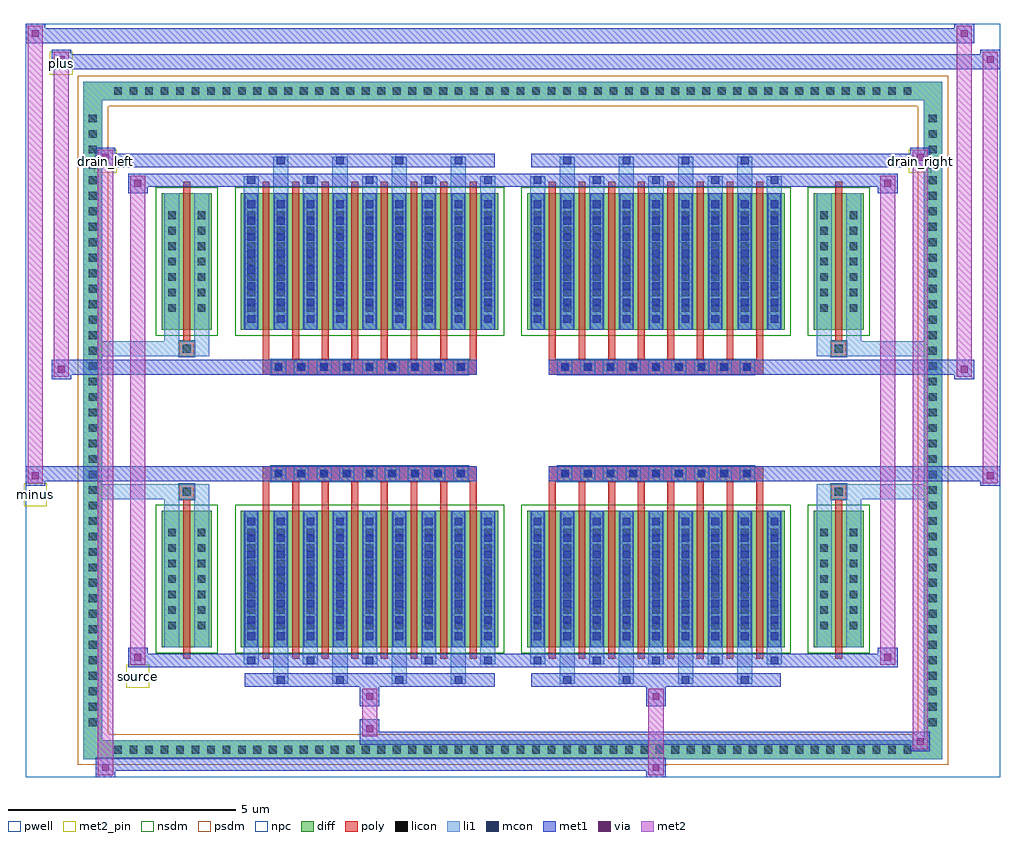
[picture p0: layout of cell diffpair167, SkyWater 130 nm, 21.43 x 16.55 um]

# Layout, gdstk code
import gdstk
lib = gdstk.Library(unit=1e-6, precision=5e-09)
def R(c, l, rs):  # rectangles x0, y0, x1, y1
    for r in rs: c.add(gdstk.rectangle(r[:2], r[2:], *l))
def A(c, l, x, y, w, h, nx, ny, dx, dy):  # array of equal rectangles
    R(c, l, [(x+i*dx, y+j*dy, x+i*dx+w, y+j*dy+h) for i in range(nx) for j in range(ny)])
def P(c, l, *ps):  # polygons
    for p in ps: c.add(gdstk.Polygon(p, *l))
pwell = (64, 44)
diff = (65, 20)
poly = (66, 20)
licon = (66, 44)
li1 = (67, 20)
mcon = (67, 44)
met1 = (68, 20)
via = (68, 44)
met2_pin = (69, 16)
met2 = (69, 20)
nsdm = (93, 44)
psdm = (94, 20)
npc = (95, 20)

diffpair167 = lib.new_cell('diffpair167')
R(diffpair167, pwell, [(-10.7,-7.84,10.7,8.71), (-8.02,-6.03,-0.01,-0.805), (0.01,-6.03,8.02,-0.805), (-8.02,0.805,-0.01,6.03), (0.01,0.805,8.02,6.03)])
A(diffpair167, diff, -8.875, -7.44, 0.41, 0.41, 52, 2, 0.34, 14.47)
A(diffpair167, diff, -9.43, -6.835, 0.41, 0.41, 1, 40, 0, 0.34)
A(diffpair167, diff, 9.02, -6.835, 0.41, 0.41, 1, 40, 0, 0.34)
R(diffpair167, diff, [(-8.875,-7.44,8.875,-7.03), (-9.43,-6.835,-9.02,6.835), (9.02,-6.835,9.43,6.835), (-7.71,-4.985,-6.61,-1.985), (-5.97,-4.985,-0.32,-1.985), (0.32,-4.985,5.97,-1.985), (6.61,-4.985,7.71,-1.985), (-7.71,1.985,-6.61,4.985), (-5.97,1.985,-0.32,4.985), (0.32,1.985,5.97,4.985), (6.61,1.985,7.71,4.985), (-8.875,7.03,8.875,7.44)])
P(diffpair167, diff, [(9.43,7.44),(-9.43,7.44),(-9.43,-7.03),(-9.02,-7.03),(-9.02,7.03),(9.02,7.03),(9.02,-7.03),(-9.02,-7.03),(-9.43,-7.03),(-9.43,-7.44),(9.43,-7.44)])
A(diffpair167, poly, -5.495, -5.235, 0.15, 3.5, 8, 2, 0.65, 6.97)
A(diffpair167, poly, 0.795, -5.235, 0.15, 3.5, 8, 2, 0.65, 6.97)
A(diffpair167, poly, -5.495, -1.735, 0.15, 0.4, 8, 2, 0.65, 3.07)
A(diffpair167, poly, 0.795, -1.735, 0.15, 0.4, 8, 2, 0.65, 3.07)
A(diffpair167, poly, -5.31, -1.335, 0.33, 0.33, 9, 2, 0.5, 2.34)
A(diffpair167, poly, 0.98, -1.335, 0.33, 0.33, 9, 2, 0.5, 2.34)
R(diffpair167, poly, [(-7.235,-5.235,-7.085,-1.735), (7.085,-5.235,7.235,-1.735), (-7.325,-1.735,-6.995,-1.405), (-7.325,-1.735,-6.995,-1.405), (6.995,-1.735,7.325,-1.405), (6.995,-1.735,7.325,-1.405), (-5.495,-1.335,-0.795,-1.005), (0.795,-1.335,5.495,-1.005), (-5.495,1.005,-0.795,1.335), (0.795,1.005,5.495,1.335), (-7.325,1.405,-6.995,1.735), (-7.325,1.405,-6.995,1.735), (6.995,1.405,7.325,1.735), (6.995,1.405,7.325,1.735), (-7.235,1.735,-7.085,5.235), (7.085,1.735,7.235,5.235)])
A(diffpair167, licon, -8.755, -7.32, 0.17, 0.17, 52, 2, 0.34, 14.47)
A(diffpair167, licon, -9.31, -6.715, 0.17, 0.17, 1, 40, 0, 0.34)
A(diffpair167, licon, 9.14, -6.715, 0.17, 0.17, 1, 40, 0, 0.34)
A(diffpair167, licon, -7.57, -4.59, 0.17, 0.17, 1, 7, 0, 0.34)
A(diffpair167, licon, -6.92, -4.59, 0.17, 0.17, 1, 7, 0, 0.34)
A(diffpair167, licon, -5.83, -4.59, 0.17, 0.17, 9, 7, 0.65, 0.34)
A(diffpair167, licon, 0.46, -4.59, 0.17, 0.17, 9, 7, 0.65, 0.34)
A(diffpair167, licon, 6.75, -4.59, 0.17, 0.17, 1, 7, 0, 0.34)
A(diffpair167, licon, 7.4, -4.59, 0.17, 0.17, 1, 7, 0, 0.34)
A(diffpair167, licon, -5.23, -1.255, 0.17, 0.17, 9, 2, 0.5, 2.34)
A(diffpair167, licon, 1.06, -1.255, 0.17, 0.17, 9, 2, 0.5, 2.34)
A(diffpair167, licon, -7.57, 2.38, 0.17, 0.17, 1, 7, 0, 0.34)
A(diffpair167, licon, -6.92, 2.38, 0.17, 0.17, 1, 7, 0, 0.34)
A(diffpair167, licon, -5.83, 2.38, 0.17, 0.17, 9, 7, 0.65, 0.34)
A(diffpair167, licon, 0.46, 2.38, 0.17, 0.17, 9, 7, 0.65, 0.34)
A(diffpair167, licon, 6.75, 2.38, 0.17, 0.17, 1, 7, 0, 0.34)
A(diffpair167, licon, 7.4, 2.38, 0.17, 0.17, 1, 7, 0, 0.34)
R(diffpair167, licon, [(-7.245,-1.655,-7.075,-1.485), (7.075,-1.655,7.245,-1.485), (-7.245,1.485,-7.075,1.655), (7.075,1.485,7.245,1.655)])
A(diffpair167, li1, -8.835, -7.4, 0.33, 0.33, 52, 2, 0.34, 14.47)
A(diffpair167, li1, -9.39, -6.795, 0.33, 0.33, 1, 40, 0, 0.34)
A(diffpair167, li1, 9.06, -6.795, 0.33, 0.33, 1, 40, 0, 0.34)
A(diffpair167, li1, -5.26, -5.79, 0.33, 0.805, 4, 2, 1.3, 10.775)
A(diffpair167, li1, -5.18, -5.79, 0.17, 0.17, 4, 2, 1.3, 11.41)
A(diffpair167, li1, 1.03, -5.79, 0.33, 0.805, 4, 2, 1.3, 10.775)
A(diffpair167, li1, 1.11, -5.79, 0.17, 0.17, 4, 2, 1.3, 11.41)
A(diffpair167, li1, -5.91, -5.36, 0.33, 0.375, 5, 2, 1.3, 10.345)
A(diffpair167, li1, -5.83, -5.36, 0.17, 0.17, 5, 2, 1.3, 10.55)
A(diffpair167, li1, 0.38, -5.36, 0.33, 0.375, 5, 2, 1.3, 10.345)
A(diffpair167, li1, 0.46, -5.36, 0.17, 0.17, 5, 2, 1.3, 10.55)
A(diffpair167, li1, -5.91, -4.985, 0.33, 3, 9, 2, 0.65, 6.97)
A(diffpair167, li1, 0.38, -4.985, 0.33, 3, 9, 2, 0.65, 6.97)
A(diffpair167, li1, -5.83, -4.83, 0.17, 0.17, 9, 8, 0.65, 0.36)
A(diffpair167, li1, -5.83, -4.83, 0.17, 2.69, 9, 2, 0.65, 6.97)
A(diffpair167, li1, 0.46, -4.83, 0.17, 0.17, 9, 8, 0.65, 0.36)
A(diffpair167, li1, 0.46, -4.83, 0.17, 2.69, 9, 2, 0.65, 6.97)
A(diffpair167, li1, -7.65, -4.67, 0.33, 0.33, 1, 7, 0, 0.34)
A(diffpair167, li1, -7, -4.67, 0.33, 0.33, 1, 7, 0, 0.34)
A(diffpair167, li1, -5.91, -4.67, 0.33, 0.33, 9, 7, 0.65, 0.34)
A(diffpair167, li1, 0.38, -4.67, 0.33, 0.33, 9, 7, 0.65, 0.34)
A(diffpair167, li1, 6.67, -4.67, 0.33, 0.33, 1, 7, 0, 0.34)
A(diffpair167, li1, 7.32, -4.67, 0.33, 0.33, 1, 7, 0, 0.34)
A(diffpair167, li1, -5.31, -1.335, 0.33, 0.33, 9, 2, 0.5, 2.34)
A(diffpair167, li1, 0.98, -1.335, 0.33, 0.33, 9, 2, 0.5, 2.34)
A(diffpair167, li1, -5.83, 2.14, 0.17, 0.17, 9, 8, 0.65, 0.36)
A(diffpair167, li1, 0.46, 2.14, 0.17, 0.17, 9, 8, 0.65, 0.36)
A(diffpair167, li1, -7.65, 2.3, 0.33, 0.33, 1, 7, 0, 0.34)
A(diffpair167, li1, -7, 2.3, 0.33, 0.33, 1, 7, 0, 0.34)
A(diffpair167, li1, -5.91, 2.3, 0.33, 0.33, 9, 7, 0.65, 0.34)
A(diffpair167, li1, 0.38, 2.3, 0.33, 0.33, 9, 7, 0.65, 0.34)
A(diffpair167, li1, 6.67, 2.3, 0.33, 0.33, 1, 7, 0, 0.34)
A(diffpair167, li1, 7.32, 2.3, 0.33, 0.33, 1, 7, 0, 0.34)
R(diffpair167, li1, [(-9.43,-7.44,-9.02,-7.03), (-9.43,-7.44,-9.02,-7.03), (-9.02,-7.44,9.02,-7.03), (9.02,-7.44,9.43,-7.03), (9.02,-7.44,9.43,-7.03), (-9.43,-7.03,-9.02,7.03), (9.02,-7.03,9.43,7.03), (-7.65,-4.985,-7.32,-1.985), (-7,-4.985,-6.67,-1.985), (6.67,-4.985,7,-1.985), (7.32,-4.985,7.65,-1.985), (-7.65,-1.985,-7.32,-1.405), (-7,-1.985,-6.67,-1.405), (6.67,-1.985,7,-1.405), (7.32,-1.985,7.65,-1.405), (-9.43,-1.735,-7.325,-1.405), (-7.65,-1.735,-7.325,-1.405), (-7.325,-1.735,-6.995,-1.405), (-6.995,-1.735,-6.67,-1.405), (6.67,-1.735,6.995,-1.405), (6.995,-1.735,7.325,-1.405), (6.995,-1.735,9.43,-1.405), (7.325,-1.735,7.65,-1.405), (-9.43,1.405,-7.325,1.735), (-7.65,1.405,-7.325,1.735), (-7.65,1.405,-7.32,1.985), (-7.325,1.405,-6.995,1.735), (-7,1.405,-6.67,1.985), (-6.995,1.405,-6.67,1.735), (6.67,1.405,6.995,1.735), (6.67,1.405,7,1.985), (6.995,1.405,7.325,1.735), (6.995,1.405,9.43,1.735), (7.32,1.405,7.65,1.985), (7.325,1.405,7.65,1.735), (-7.65,1.985,-7.32,4.985), (-7,1.985,-6.67,4.985), (6.67,1.985,7,4.985), (7.32,1.985,7.65,4.985), (-9.43,7.03,-9.02,7.44), (-9.43,7.03,-9.02,7.44), (-9.02,7.03,9.02,7.44), (9.02,7.03,9.43,7.44), (9.02,7.03,9.43,7.44)])
A(diffpair167, mcon, -5.18, -5.79, 0.17, 0.17, 4, 2, 1.3, 11.41)
A(diffpair167, mcon, 1.11, -5.79, 0.17, 0.17, 4, 2, 1.3, 11.41)
A(diffpair167, mcon, -5.83, -5.36, 0.17, 0.17, 5, 2, 1.3, 10.55)
A(diffpair167, mcon, 0.46, -5.36, 0.17, 0.17, 5, 2, 1.3, 10.55)
A(diffpair167, mcon, -5.83, -4.83, 0.17, 0.17, 9, 8, 0.65, 0.36)
A(diffpair167, mcon, 0.46, -4.83, 0.17, 0.17, 9, 8, 0.65, 0.36)
A(diffpair167, mcon, -5.23, -1.255, 0.17, 0.17, 9, 2, 0.5, 2.34)
A(diffpair167, mcon, 1.06, -1.255, 0.17, 0.17, 9, 2, 0.5, 2.34)
A(diffpair167, mcon, -5.83, 2.14, 0.17, 0.17, 9, 8, 0.65, 0.36)
A(diffpair167, mcon, 0.46, 2.14, 0.17, 0.17, 9, 8, 0.65, 0.36)
A(diffpair167, met1, -5.24, -5.85, 0.29, 0.29, 4, 2, 1.3, 11.41)
A(diffpair167, met1, 1.05, -5.85, 0.29, 0.29, 4, 2, 1.3, 11.41)
A(diffpair167, met1, -5.89, -5.42, 0.29, 0.29, 5, 2, 1.3, 10.55)
A(diffpair167, met1, 0.4, -5.42, 0.29, 0.29, 5, 2, 1.3, 10.55)
A(diffpair167, met1, -5.89, -4.985, 0.29, 3, 9, 2, 0.65, 6.97)
A(diffpair167, met1, 0.4, -4.985, 0.29, 3, 9, 2, 0.65, 6.97)
A(diffpair167, met1, -5.89, -4.89, 0.29, 0.29, 9, 8, 0.65, 0.36)
A(diffpair167, met1, 0.4, -4.89, 0.29, 0.29, 9, 8, 0.65, 0.36)
A(diffpair167, met1, -5.29, -1.315, 0.29, 0.29, 9, 2, 0.5, 2.34)
A(diffpair167, met1, 1, -1.315, 0.29, 0.29, 9, 2, 0.5, 2.34)
A(diffpair167, met1, -5.89, 2.08, 0.29, 0.29, 9, 8, 0.65, 0.36)
A(diffpair167, met1, 0.4, 2.08, 0.29, 0.29, 9, 8, 0.65, 0.36)
R(diffpair167, met1, [(-9.16,-7.84,-8.73,-7.41), (2.93,-7.84,3.36,-7.41), (-9.16,-7.7,3.36,-7.41), (8.73,-7.27,9.16,-6.84), (-3.36,-7.13,9.16,-6.84), (-3.36,-6.99,-2.93,-6.56), (-3.36,-6.28,-2.93,-5.85), (2.93,-6.28,3.36,-5.85), (-5.89,-5.85,-0.4,-5.56), (0.4,-5.85,5.89,-5.56), (-8.45,-5.42,-8.02,-4.99), (-8.45,-5.42,-5.89,-5.13), (-5.89,-5.42,-0.4,-5.13), (-0.4,-5.42,0.4,-5.13), (0.4,-5.42,5.89,-5.13), (5.89,-5.42,8.45,-5.13), (8.02,-5.42,8.45,-4.99), (-10.7,-1.435,-10.27,-1.005), (10.27,-1.435,10.7,-1.005), (-10.7,-1.335,-0.795,-1.005), (-5.495,-1.335,-0.795,-1.005), (0.795,-1.335,5.495,-1.005), (0.795,-1.335,10.7,-1.005), (-10.13,0.905,-9.7,1.335), (9.7,0.905,10.13,1.335), (-10.13,1.005,-5.495,1.335), (-5.495,1.005,-0.795,1.335), (0.795,1.005,5.495,1.335), (5.495,1.005,10.13,1.335), (-8.45,4.99,-8.02,5.42), (8.02,4.99,8.45,5.42), (-8.45,5.13,-5.89,5.42), (-5.89,5.13,-0.4,5.42), (-0.4,5.13,0.4,5.42), (0.4,5.13,5.89,5.42), (5.89,5.13,8.45,5.42), (-9.16,5.56,-8.73,5.99), (-9.16,5.56,-5.89,5.85), (-5.89,5.56,-0.4,5.85), (0.4,5.56,5.89,5.85), (5.89,5.56,9.16,5.85), (8.73,5.56,9.16,5.99), (-10.13,7.71,-9.7,8.14), (-10.13,7.71,-8.02,8.04), (-8.02,7.71,8.02,8.04), (8.02,7.71,10.7,8.04), (10.27,7.71,10.7,8.14), (-10.7,8.28,-10.27,8.71), (-10.7,8.28,-8.02,8.61), (-8.02,8.28,8.02,8.61), (8.02,8.28,10.13,8.61), (9.7,8.28,10.13,8.71)])
R(diffpair167, via, [(-9.02,-7.7,-8.87,-7.55), (3.07,-7.7,3.22,-7.55), (8.87,-7.13,9.02,-6.98), (-3.22,-6.85,-3.07,-6.7), (-3.22,-6.14,-3.07,-5.99), (3.07,-6.14,3.22,-5.99), (-8.31,-5.28,-8.16,-5.13), (8.16,-5.28,8.31,-5.13), (-10.56,-1.295,-10.41,-1.145), (10.41,-1.295,10.56,-1.145), (-9.99,1.045,-9.84,1.195), (9.84,1.045,9.99,1.195), (-8.31,5.13,-8.16,5.28), (8.16,5.13,8.31,5.28), (-9.02,5.7,-8.87,5.85), (8.87,5.7,9.02,5.85), (-9.99,7.85,-9.84,8), (10.41,7.85,10.56,8), (-10.56,8.42,-10.41,8.57), (9.84,8.42,9.99,8.57)])
R(diffpair167, met2_pin, [(-8.485,-5.87,-7.985,-5.37), (-10.735,-1.885,-10.235,-1.385), (-9.195,5.44,-8.695,5.94), (8.695,5.44,9.195,5.94), (-10.165,7.59,-9.665,8.09)])
R(diffpair167, met2, [(-9.11,-7.79,-8.78,-7.46), (-9.11,-7.79,-8.78,5.94), (2.98,-7.79,3.31,-7.46), (2.98,-7.46,3.31,-6.23), (8.78,-7.22,9.11,-6.89), (8.78,-7.22,9.11,5.94), (-3.31,-6.94,-2.98,-6.61), (-3.31,-6.61,-2.98,-6.23), (-3.31,-6.23,-2.98,-5.9), (2.98,-6.23,3.31,-5.9), (-8.4,-5.37,-8.07,-5.04), (-8.4,-5.37,-8.07,5.37), (8.07,-5.37,8.4,-5.04), (8.07,-5.37,8.4,5.37), (-10.65,-1.385,-10.32,-1.055), (-10.65,-1.385,-10.32,8.66), (10.32,-1.385,10.65,-1.055), (10.32,-1.385,10.65,8.09), (-10.08,0.955,-9.75,1.285), (-10.08,0.955,-9.75,8.09), (9.75,0.955,10.08,1.285), (9.75,0.955,10.08,8.66), (-8.4,5.04,-8.07,5.37), (8.07,5.04,8.4,5.37), (-9.11,5.61,-8.78,5.94), (8.78,5.61,9.11,5.94), (-10.08,7.76,-9.75,8.09), (10.32,7.76,10.65,8.09), (-10.65,8.33,-10.32,8.66), (9.75,8.33,10.08,8.66)])
P(diffpair167, met2, [(10.65,-1.385),(10.65,-1.385),(10.65,-1.055),(10.65,-1.055)],
  [(10.65,7.76),(10.65,7.76),(10.65,8.09),(10.65,8.09)],
  [(-10.32,-1.385),(-10.32,-1.385),(-10.32,-1.055),(-10.32,-1.055)],
  [(-10.32,8.33),(-10.32,8.33),(-10.32,8.66),(-10.32,8.66)],
  [(10.08,0.955),(10.08,0.955),(10.08,1.285),(10.08,1.285)],
  [(10.08,8.33),(10.08,8.33),(10.08,8.66),(10.08,8.66)],
  [(-9.75,0.955),(-9.75,0.955),(-9.75,1.285),(-9.75,1.285)],
  [(-9.75,7.76),(-9.75,7.76),(-9.75,8.09),(-9.75,8.09)],
  [(-8.78,-7.79),(-8.78,-7.79),(-8.78,-7.46),(-8.78,-7.46)],
  [(-8.78,5.61),(-8.78,5.61),(-8.78,5.94),(-8.78,5.94)],
  [(9.11,-7.22),(9.11,-7.22),(9.11,-6.89),(9.11,-6.89)],
  [(9.11,5.61),(9.11,5.61),(9.11,5.94),(9.11,5.94)],
  [(-8.07,-5.37),(-8.07,-5.37),(-8.07,-5.04),(-8.07,-5.04)],
  [(-8.07,5.04),(-8.07,5.04),(-8.07,5.37),(-8.07,5.37)],
  [(8.4,-5.37),(8.4,-5.37),(8.4,-5.04),(8.4,-5.04)],
  [(8.4,5.04),(8.4,5.04),(8.4,5.37),(8.4,5.37)])
R(diffpair167, nsdm, [(-7.84,-5.115,-6.48,-1.855), (-6.1,-5.115,-0.19,-1.855), (0.19,-5.115,6.1,-1.855), (6.48,-5.115,7.84,-1.855), (-7.84,1.855,-6.48,5.115), (-6.1,1.855,-0.19,5.115), (0.19,1.855,6.1,5.115), (6.48,1.855,7.84,5.115)])
P(diffpair167, psdm, [(9.56,7.57),(-9.56,7.57),(-9.56,-6.9),(-8.89,-6.9),(-8.89,6.9),(8.89,6.9),(8.89,-6.9),(-8.89,-6.9),(-9.56,-6.9),(-9.56,-7.57),(9.56,-7.57)])
A(diffpair167, npc, -5.33, -1.355, 0.37, 0.37, 9, 2, 0.5, 2.34)
A(diffpair167, npc, 0.96, -1.355, 0.37, 0.37, 9, 2, 0.5, 2.34)
R(diffpair167, npc, [(-7.345,-1.755,-6.975,-1.385), (6.975,-1.755,7.345,-1.385), (-5.33,-1.355,-4.46,-0.985), (-5.33,-1.355,-4.46,-0.985), (-4.83,-1.355,-3.96,-0.985), (-4.83,-1.355,-3.96,-0.985), (-4.33,-1.355,-3.46,-0.985), (-4.33,-1.355,-3.46,-0.985), (-3.83,-1.355,-2.96,-0.985), (-3.83,-1.355,-2.96,-0.985), (-3.33,-1.355,-2.46,-0.985), (-3.33,-1.355,-2.46,-0.985), (-2.83,-1.355,-1.96,-0.985), (-2.83,-1.355,-1.96,-0.985), (-2.33,-1.355,-1.46,-0.985), (-2.33,-1.355,-1.46,-0.985), (-1.83,-1.355,-0.96,-0.985), (-1.83,-1.355,-0.96,-0.985), (0.96,-1.355,1.83,-0.985), (0.96,-1.355,1.83,-0.985), (1.46,-1.355,2.33,-0.985), (1.46,-1.355,2.33,-0.985), (1.96,-1.355,2.83,-0.985), (1.96,-1.355,2.83,-0.985), (2.46,-1.355,3.33,-0.985), (2.46,-1.355,3.33,-0.985), (2.96,-1.355,3.83,-0.985), (2.96,-1.355,3.83,-0.985), (3.46,-1.355,4.33,-0.985), (3.46,-1.355,4.33,-0.985), (3.96,-1.355,4.83,-0.985), (3.96,-1.355,4.83,-0.985), (4.46,-1.355,5.33,-0.985), (4.46,-1.355,5.33,-0.985), (-5.33,0.985,-4.46,1.355), (-5.33,0.985,-4.46,1.355), (-4.83,0.985,-3.96,1.355), (-4.83,0.985,-3.96,1.355), (-4.33,0.985,-3.46,1.355), (-4.33,0.985,-3.46,1.355), (-3.83,0.985,-2.96,1.355), (-3.83,0.985,-2.96,1.355), (-3.33,0.985,-2.46,1.355), (-3.33,0.985,-2.46,1.355), (-2.83,0.985,-1.96,1.355), (-2.83,0.985,-1.96,1.355), (-2.33,0.985,-1.46,1.355), (-2.33,0.985,-1.46,1.355), (-1.83,0.985,-0.96,1.355), (-1.83,0.985,-0.96,1.355), (0.96,0.985,1.83,1.355), (0.96,0.985,1.83,1.355), (1.46,0.985,2.33,1.355), (1.46,0.985,2.33,1.355), (1.96,0.985,2.83,1.355), (1.96,0.985,2.83,1.355), (2.46,0.985,3.33,1.355), (2.46,0.985,3.33,1.355), (2.96,0.985,3.83,1.355), (2.96,0.985,3.83,1.355), (3.46,0.985,4.33,1.355), (3.46,0.985,4.33,1.355), (3.96,0.985,4.83,1.355), (3.96,0.985,4.83,1.355), (4.46,0.985,5.33,1.355), (4.46,0.985,5.33,1.355), (-7.345,1.385,-6.975,1.755), (6.975,1.385,7.345,1.755)])
diffpair167.add(gdstk.Label('minus', (-10.485,-1.635), layer=69, texttype=5))
diffpair167.add(gdstk.Label('drain_right', (8.945,5.69), layer=69, texttype=5))
diffpair167.add(gdstk.Label('drain_left', (-8.945,5.69), layer=69, texttype=5))
diffpair167.add(gdstk.Label('source', (-8.235,-5.62), layer=69, texttype=5))
diffpair167.add(gdstk.Label('plus', (-9.915,7.84), layer=69, texttype=5))

lib.write_gds('diffpair167.gds')
